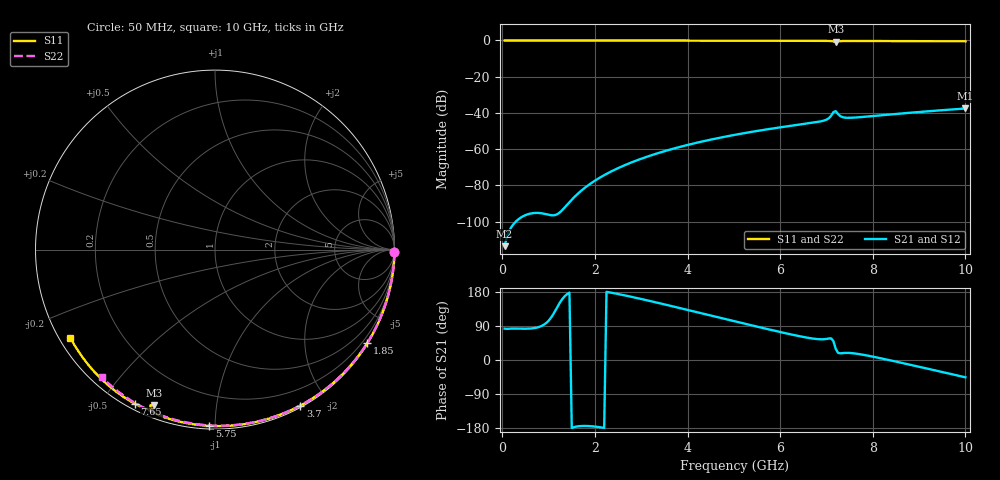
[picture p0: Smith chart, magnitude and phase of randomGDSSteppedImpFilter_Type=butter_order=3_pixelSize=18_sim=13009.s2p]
! freq	dB(S11)	phase(S11)	dB(S12)	phase(S12)
!  dB(S21)	phase(S21)	dB(S22)	phase(S22)
!S-par simulation data
#  GHz  S  DB  R 50
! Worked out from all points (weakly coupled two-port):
!   200 points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, 50 MHz to 10 GHz, reference 50 ohm
!   highest |S21| = -37.57 dB at 10 GHz (marker M1); lowest = -113.6 dB at 50 MHz (marker M2)
!   lowest |S11| = -0.6 dB at 7.2 GHz (marker M3), VSWR 27.39, Z = 2.68 - j34.1 ohm
!   |S11| at or under -10 dB: nowhere
!   |S22| runs from -0.4 to 0.0 dB; largest |S21 - S12| = 0
!   S11 on the Smith chart (normalised r, x): 50 MHz: open; 1.85 GHz: 0.03, -3.54; 3.7 GHz: 0.02, -1.69; 5.75 GHz: 0.02, -0.97; 7.65 GHz: 0.02, -0.61; 10 GHz: 0.03, -0.28
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0.05  -0.00 -0.9  -113.62 82.7  -113.62 82.7  -0.00 -0.8
0.9  -0.02 -15.5  -95.68 93.3  -95.68 93.3  -0.02 -13.6
1.75  -0.04 -29.8  -82.03 -174.0  -82.03 -174.0  -0.03 -26.2
1.85  -0.04 -31.5  -80.07 -174.2  -80.07 -174.2  -0.04 -27.7
2.15  -0.05 -36.5  -75.12 -178.2  -75.12 -178.2  -0.04 -32.1
2.5  -0.05 -42.2  -70.52 174.2  -70.52 174.2  -0.05 -37.2
2.9  -0.06 -48.7  -66.27 163.8  -66.27 163.8  -0.06 -42.9
3.4  -0.07 -56.7  -61.94 149.7  -61.94 149.7  -0.07 -49.9
3.7  -0.08 -61.3  -59.72 141.0  -59.72 141.0  -0.07 -54.1
4.35  -0.10 -71.3  -55.61 121.9  -55.61 121.9  -0.09 -63.0
5.05  -0.12 -81.7  -51.99 101.2  -51.99 101.2  -0.11 -72.3
5.75  -0.15 -91.9  -48.96 80.9  -48.96 80.9  -0.14 -81.3
6.7  -0.20 -105.3  -45.45 56.7  -45.45 56.7  -0.18 -93.1
7  -0.25 -110.0  -43.74 55.6  -43.74 55.6  -0.20 -96.8
7.1  -0.36 -111.9  -41.64 57.0  -41.64 57.0  -0.20 -98.0
7.15  -0.55 -112.5  -39.56 49.7  -39.56 49.7  -0.21 -98.6
7.2  -0.63 -111.3  -39.02 29.5  -39.02 29.5  -0.21 -99.2
7.3  -0.36 -112.1  -41.82 17.6  -41.82 17.6  -0.21 -100.4
7.35  -0.32 -113.0  -42.38 18.2  -42.38 18.2  -0.22 -101.0
7.65  -0.28 -117.5  -42.52 16.6  -42.52 16.6  -0.24 -104.6
8.35  -0.33 -126.9  -40.94 -0.1  -40.94 -0.1  -0.29 -112.8
10  -0.50 -148.7  -37.57 -45.6  -37.57 -45.6  -0.44 -131.6
